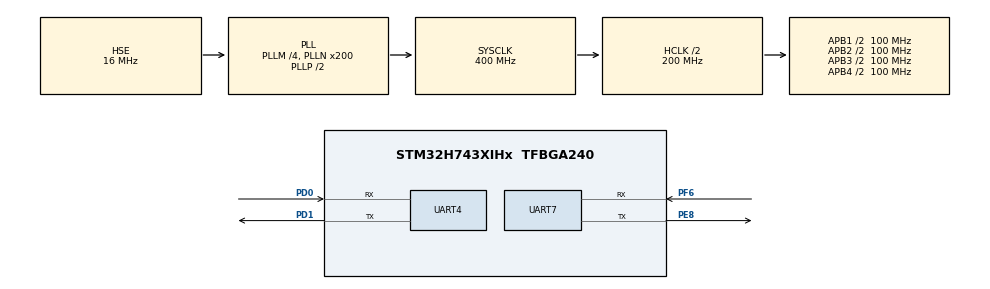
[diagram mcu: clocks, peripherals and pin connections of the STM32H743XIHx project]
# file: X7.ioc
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CORTEX_M7.default_mode_Activation=1
Mcu.Family=STM32H7
Mcu.Name=STM32H743XIHx
Mcu.Package=TFBGA240
NVIC.PriorityGroup=NVIC_PRIORITYGROUP_4
PA13\ (JTMS/SWDIO).Mode=Serial_Wire
PA13\ (JTMS/SWDIO).Signal=DEBUG_JTMS-SWDIO
PA14\ (JTCK/SWCLK).Mode=Serial_Wire
PA14\ (JTCK/SWCLK).Signal=DEBUG_JTCK-SWCLK
PC14-OSC32_IN\ (OSC32_IN).Mode=LSE-External-Oscillator
PC14-OSC32_IN\ (OSC32_IN).Signal=RCC_OSC32_IN
PC15-OSC32_OUT\ (OSC32_OUT).Mode=LSE-External-Oscillator
PC15-OSC32_OUT\ (OSC32_OUT).Signal=RCC_OSC32_OUT
PD0.GPIO_PuPd=GPIO_PULLUP
PD0.GPIO_Speed=GPIO_SPEED_FREQ_HIGH
PD0.Mode=Asynchronous
PD0.Signal=UART4_RX
PD1.GPIO_PuPd=GPIO_PULLUP
PD1.GPIO_Speed=GPIO_SPEED_FREQ_HIGH
PD1.Mode=Asynchronous
PD1.Signal=UART4_TX
PE8.GPIO_PuPd=GPIO_PULLUP
PE8.GPIO_Speed=GPIO_SPEED_FREQ_HIGH
PE8.Mode=Asynchronous
PE8.Signal=UART7_TX
PF6.GPIO_PuPd=GPIO_PULLUP
PF6.GPIO_Speed=GPIO_SPEED_FREQ_HIGH
PF6.Mode=Asynchronous
PF6.Signal=UART7_RX
PH0-OSC_IN\ (PH0).Mode=HSE-External-Oscillator
PH0-OSC_IN\ (PH0).Signal=RCC_OSC_IN
PH1-OSC_OUT\ (PH1).Mode=HSE-External-Oscillator
PH1-OSC_OUT\ (PH1).Signal=RCC_OSC_OUT
ProjectManager.HeapSize=0x200
ProjectManager.StackSize=0x400
ProjectManager.TargetToolchain=CMake
RCC.ADCFreq_Value=32250000
RCC.APB1Freq_Value=100000000
RCC.APB2Freq_Value=100000000
RCC.APB3Freq_Value=100000000
RCC.APB4Freq_Value=100000000
RCC.CortexFreq_Value=400000000
RCC.D1PPRE=RCC_APB3_DIV2
RCC.D2PPRE1=RCC_APB1_DIV2
RCC.D2PPRE2=RCC_APB2_DIV2
RCC.D3PPRE=RCC_APB4_DIV2
RCC.DIVM1=4
RCC.DIVN1=200
RCC.HCLKFreq_Value=200000000
RCC.HPRE=RCC_HCLK_DIV2
RCC.HSE_VALUE=16000000
RCC.PLLSourceVirtual=RCC_PLLSOURCE_HSE
RCC.PWR_Regulator_Voltage_Scale=PWR_REGULATOR_VOLTAGE_SCALE1
RCC.SYSCLKFreq_VALUE=400000000
RCC.SYSCLKSource=RCC_SYSCLKSOURCE_PLLCLK
RCC.USBFreq_Value=400000000
VP_MEMORYMAP_VS_MEMORYMAP.Mode=CurAppReg
board=custom

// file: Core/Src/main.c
/* USER CODE BEGIN Header */
/**
  ******************************************************************************
  * @file           : main.c
  * @brief          : Main program body
  ******************************************************************************
  * @attention
  *
  * Copyright (c) 2026 STMicroelectronics.
  * All rights reserved.
  *
  * This software is licensed under terms that can be found in the LICENSE file
  * in the root directory of this software component.
  * If no LICENSE file comes with this software, it is provided AS-IS.
  *
  ******************************************************************************
  */
/* USER CODE END Header */
#include "main.h"
#include "usart.h"
#include "gpio.h"

/* USER CODE BEGIN Includes */
#include "app/app.h"

/* USER CODE END Includes */

void SystemClock_Config(void);
static void MPU_Config(void);

/* USER CODE BEGIN 0 */
static void X7_BootloaderCleanup(void)
{
  uint32_t index;
  uint32_t register_count;

  SysTick->CTRL = 0U;
  SysTick->LOAD = 0U;
  SysTick->VAL = 0U;
  SCB->ICSR = SCB_ICSR_PENDSTCLR_Msk | SCB_ICSR_PENDSVCLR_Msk;
  SCB->SCR &= ~(SCB_SCR_SLEEPDEEP_Msk | SCB_SCR_SLEEPONEXIT_Msk);

  register_count =
      (SCnSCB->ICTR & SCnSCB_ICTR_INTLINESNUM_Msk) + 1U;
  if (register_count > 8U)
  {
    register_count = 8U;
  }

  for (index = 0U; index < register_count; ++index)
  {
    NVIC->ICER[index] = UINT32_MAX;
    NVIC->ICPR[index] = UINT32_MAX;
  }

  SCB->VTOR = 0x08020000U;
  __set_BASEPRI(0U);
  __set_FAULTMASK(0U);
  __enable_irq();
  __DSB();
  __ISB();
}

/* USER CODE END 0 */

int main(void)
{

  /* USER CODE BEGIN 1 */
  X7_BootloaderCleanup();

  /* USER CODE END 1 */

  /* MPU Configuration--------------------------------------------------------*/
  MPU_Config();

  /* MCU Configuration--------------------------------------------------------*/

  /* Reset of all peripherals, Initializes the Flash interface and the Systick. */
  HAL_Init();

  /* Configure the system clock */
  SystemClock_Config();

  /* USER CODE BEGIN SysInit */

  if (HAL_InitTick(TICK_INT_PRIORITY) != HAL_OK)
  {
    Error_Handler();
  }
  HAL_ResumeTick();

  /* USER CODE END SysInit */

  /* Initialize all configured peripherals */
  MX_GPIO_Init();
  MX_UART7_Init();
  MX_UART4_Init();
  /* USER CODE BEGIN 2 */
  if (app_init() != STATUS_OK)
  {
    Error_Handler();
  }

  /* USER CODE END 2 */

  /* Infinite loop */
  while (1)
  {

    /* USER CODE BEGIN 3 */
    app_run();
  }
  /* USER CODE END 3 */
}

void SystemClock_Config(void)
{
  RCC_OscInitTypeDef RCC_OscInitStruct = {0};
  RCC_ClkInitTypeDef RCC_ClkInitStruct = {0};

  /** Supply configuration update enable
  */
  HAL_PWREx_ConfigSupply(PWR_LDO_SUPPLY);

  /** Configure the main internal regulator output voltage
  */
  __HAL_PWR_VOLTAGESCALING_CONFIG(PWR_REGULATOR_VOLTAGE_SCALE1);

  while(!__HAL_PWR_GET_FLAG(PWR_FLAG_VOSRDY)) {}

  /** Initializes the RCC Oscillators according to the specified parameters
  * in the RCC_OscInitTypeDef structure.
  */
  RCC_OscInitStruct.OscillatorType = RCC_OSCILLATORTYPE_HSE;
  RCC_OscInitStruct.HSEState = RCC_HSE_ON;
  RCC_OscInitStruct.PLL.PLLState = RCC_PLL_ON;
  RCC_OscInitStruct.PLL.PLLSource = RCC_PLLSOURCE_HSE;
  RCC_OscInitStruct.PLL.PLLM = 4;
  RCC_OscInitStruct.PLL.PLLN = 200;
  RCC_OscInitStruct.PLL.PLLP = 2;
  RCC_OscInitStruct.PLL.PLLQ = 2;
  RCC_OscInitStruct.PLL.PLLR = 2;
  RCC_OscInitStruct.PLL.PLLRGE = RCC_PLL1VCIRANGE_2;
  RCC_OscInitStruct.PLL.PLLVCOSEL = RCC_PLL1VCOWIDE;
  RCC_OscInitStruct.PLL.PLLFRACN = 0;
  if (HAL_RCC_OscConfig(&RCC_OscInitStruct) != HAL_OK)
  {
    Error_Handler();
  }

  /** Initializes the CPU, AHB and APB buses clocks
  */
  RCC_ClkInitStruct.ClockType = RCC_CLOCKTYPE_HCLK|RCC_CLOCKTYPE_SYSCLK
                              |RCC_CLOCKTYPE_PCLK1|RCC_CLOCKTYPE_PCLK2
                              |RCC_CLOCKTYPE_D3PCLK1|RCC_CLOCKTYPE_D1PCLK1;
  RCC_ClkInitStruct.SYSCLKSource = RCC_SYSCLKSOURCE_PLLCLK;
  RCC_ClkInitStruct.SYSCLKDivider = RCC_SYSCLK_DIV1;
  RCC_ClkInitStruct.AHBCLKDivider = RCC_HCLK_DIV2;
  RCC_ClkInitStruct.APB3CLKDivider = RCC_APB3_DIV2;
  RCC_ClkInitStruct.APB1CLKDivider = RCC_APB1_DIV2;
  RCC_ClkInitStruct.APB2CLKDivider = RCC_APB2_DIV2;
  RCC_ClkInitStruct.APB4CLKDivider = RCC_APB4_DIV2;

  if (HAL_RCC_ClockConfig(&RCC_ClkInitStruct, FLASH_LATENCY_2) != HAL_OK)
  {
    Error_Handler();
  }
}

 /* MPU Configuration */

void MPU_Config(void)
{
  MPU_Region_InitTypeDef MPU_InitStruct = {0};

  /* Disables the MPU */
  HAL_MPU_Disable();

  /** Initializes and configures the Region and the memory to be protected
  */
  MPU_InitStruct.Enable = MPU_REGION_ENABLE;
  MPU_InitStruct.Number = MPU_REGION_NUMBER0;
  MPU_InitStruct.BaseAddress = 0x0;
  MPU_InitStruct.Size = MPU_REGION_SIZE_4GB;
  MPU_InitStruct.SubRegionDisable = 0x87;
  MPU_InitStruct.TypeExtField = MPU_TEX_LEVEL0;
  MPU_InitStruct.AccessPermission = MPU_REGION_NO_ACCESS;
  MPU_InitStruct.DisableExec = MPU_INSTRUCTION_ACCESS_DISABLE;
  MPU_InitStruct.IsShareable = MPU_ACCESS_SHAREABLE;
  MPU_InitStruct.IsCacheable = MPU_ACCESS_NOT_CACHEABLE;
  MPU_InitStruct.IsBufferable = MPU_ACCESS_NOT_BUFFERABLE;

  HAL_MPU_ConfigRegion(&MPU_InitStruct);
  /* Enables the MPU */
  HAL_MPU_Enable(MPU_PRIVILEGED_DEFAULT);

}

void Error_Handler(void)
{
  __disable_irq();
  while (1)
  {
  }
}
